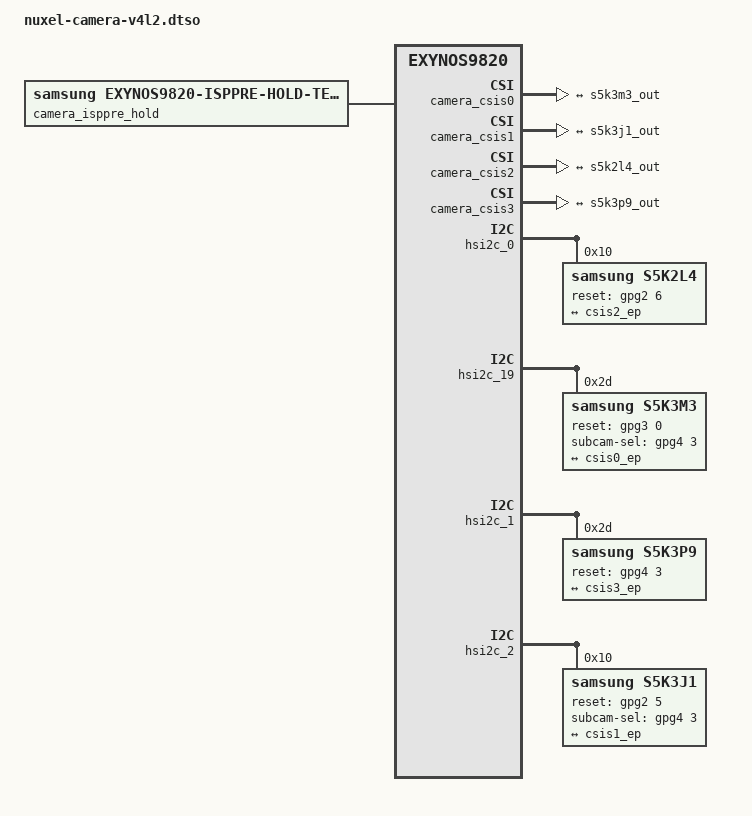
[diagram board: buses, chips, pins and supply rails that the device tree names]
// SPDX-License-Identifier: GPL-2.0-only
/*
 * Nuxel S10+ (beyond2lte / exynos9820) native camera device-tree overlay.
 * FIXED: standalone CSIS/isppre-hold/isppre-clock nodes are now wrapped in
 * fragment blocks targeting "/", so dtc/fdtoverlay actually merge them into
 * the base DTB (previously top-level nodes in /plugin/ were dropped).
 */
/dts-v1/;
/plugin/;

/ {
	compatible = "samsung,beyond2lte", "samsung,exynos9820";
	dtbo-hw_rev = <0x1a>;
	dtbo-hw_rev_end = <0xff>;

	fragment@100 {
		target-path = "/";
		__overlay__ {
			camera_isppre_hold: camera-isppre-hold {
				compatible = "samsung,exynos9820-isppre-hold-test";
				power-domains = <&pd_isppre>;
			};

			isppre_clock: clock-controller@17000000 {
				compatible = "samsung,exynos9820-isppre-clock-test";
				reg = <0x0 0x17000000 0x0 0x8000>;
				#clock-cells = <1>;
				clock-names = "bus";
				clocks = <&exynos_dm 0>;
				power-domains = <&pd_isppre>;
			};

			camera_csis0: camera-csis@17040000 {
				compatible = "samsung,exynos9820-csis";
				reg = <0x0 0x17040000 0x0 0x1000>,
				      <0x0 0x170e0000 0x0 0x100>,
				      <0x0 0x17020500 0x0 0x4>,
				      <0x0 0x19162300 0x0 0x500>,
				      <0x0 0x170b0000 0x0 0x500>;
				reg-names = "csis", "dma-top", "phy-reset", "phy", "dma";
				interrupts = <0 0x136 4>, <0 0x13c 4>;
				interrupt-names = "csis", "dma";
				samsung,pmu-syscon = <&pmu_system_controller>;
				samsung,pmu-phy-offset = <0x730>;
				samsung,phy-reset-bit = <0x2>;
				samsung,phy = <&mipi_phy_csis0_m4s4_top>;
				samsung,dc-combo;
				power-domains = <&pd_isppre>;
				clock-names = "csis", "dma", "mmu", "bus";
				clocks = <&isppre_clock 3>, <&isppre_clock 4>,
				         <&isppre_clock 5>, <&exynos_dm 0>;
				status = "okay";

				ports {
					#address-cells = <1>;
					#size-cells = <0>;
					port@0 {
						reg = <0>;
						csis0_ep: endpoint {
							remote-endpoint = <&s5k3m3_out>;
						};
					};
				};
			};

			camera_csis1: camera-csis@17050000 {
				compatible = "samsung,exynos9820-csis";
				reg = <0x0 0x17050000 0x0 0x1000>,
				      <0x0 0x170e0000 0x0 0x100>,
				      <0x0 0x17020500 0x0 0x4>,
				      <0x0 0x19162b00 0x0 0x500>,
				      <0x0 0x170c0000 0x0 0x500>;
				reg-names = "csis", "dma-top", "phy-reset", "phy", "dma";
				interrupts = <0 0x137 4>, <0 0x13d 4>;
				interrupt-names = "csis", "dma";
				samsung,pmu-syscon = <&pmu_system_controller>;
				samsung,pmu-phy-offset = <0x73c>;
				samsung,phy-reset-bit = <0x3>;
				samsung,phy = <&mipi_phy_csis1_m0s4s4s4_mod>;
				samsung,dc-combo;
				power-domains = <&pd_isppre>;
				clock-names = "csis", "dma", "mmu", "bus";
				clocks = <&isppre_clock 0>, <&isppre_clock 1>,
				         <&isppre_clock 5>, <&exynos_dm 0>;
				status = "okay";

				ports {
					#address-cells = <1>;
					#size-cells = <0>;
					port@0 {
						reg = <0>;
						csis1_ep: endpoint {
							remote-endpoint = <&s5k3j1_out>;
						};
					};
				};
			};

			camera_csis2: camera-csis@17030000 {
				compatible = "samsung,exynos9820-csis";
				reg = <0x0 0x17030000 0x0 0x1000>,
				      <0x0 0x170e0000 0x0 0x100>,
				      <0x0 0x17020500 0x0 0x4>,
				      <0x0 0x19162d00 0x0 0x500>,
				      <0x0 0x170a0000 0x0 0x500>;
				reg-names = "csis", "dma-top", "phy-reset", "phy", "dma";
				interrupts = <0 0x138 4>, <0 0x13e 4>;
				interrupt-names = "csis", "dma";
				samsung,pmu-syscon = <&pmu_system_controller>;
				samsung,pmu-phy-offset = <0x73c>;
				samsung,phy-reset-bit = <0x1>;
				samsung,phy = <&mipi_phy_csis2_m0s4s4s4_mod>;
				samsung,dc-combo;
				samsung,pdaf-vc1;
				power-domains = <&pd_isppre>;
				clock-names = "csis", "dma", "mmu", "bus";
				clocks = <&isppre_clock 5>, <&isppre_clock 1>,
				         <&isppre_clock 5>, <&exynos_dm 0>;
				status = "okay";

				ports {
					#address-cells = <1>;
					#size-cells = <0>;
					port@0 {
						reg = <0>;
						csis2_ep: endpoint {
							remote-endpoint = <&s5k2l4_out>;
						};
					};
				};
			};

			camera_csis3: camera-csis@17060000 {
				compatible = "samsung,exynos9820-csis";
				reg = <0x0 0x17060000 0x0 0x1000>,
				      <0x0 0x170e0000 0x0 0x100>,
				      <0x0 0x17020500 0x0 0x4>,
				      <0x0 0x19163300 0x0 0x300>,
				      <0x0 0x170d0000 0x0 0x500>;
				reg-names = "csis", "dma-top", "phy-reset", "phy", "dma";
				interrupts = <0 0x13f 4>, <0 0x140 4>;
				interrupt-names = "csis", "dma";
				samsung,pmu-syscon = <&pmu_system_controller>;
				samsung,pmu-phy-offset = <0x73c>;
				samsung,phy-reset-bit = <0x4>;
				samsung,phy = <&mipi_phy_csis3_m0s4s4s4_mod>;
				power-domains = <&pd_isppre>;
				clock-names = "csis", "dma", "mmu", "bus";
				clocks = <&isppre_clock 6>, <&isppre_clock 7>,
				         <&isppre_clock 5>, <&exynos_dm 0>;
				status = "okay";

				ports {
					#address-cells = <1>;
					#size-cells = <0>;
					port@0 {
						reg = <0>;
						csis3_ep: endpoint {
							remote-endpoint = <&s5k3p9_out>;
						};
					};
				};
			};
		};
	};
};

/* ========================= SENSOR CHILDREN =============================== */
&hsi2c_0 {  /* rear main 2L4 */
	s5k2l4: sensor@10 {
		compatible = "samsung,s5k2l4";
		reg = <0x10>;
		reset-gpios = <&gpg2 6 0>;
		pinctrl-names = "default", "camera-on";
		pinctrl-0 = <&sensor_mclk0_out>;
		pinctrl-1 = <&sensor_mclk0_fn>;
		clocks = <&isppre_clock 0>;
		clock-names = "mclk";
		orientation = <3>;
		status = "okay";

		port {
			s5k2l4_out: endpoint {
				remote-endpoint = <&csis2_ep>;
				data-lanes = <1 2 3 4>;
				link-frequencies = /bits/ 64 <923000000 676000000>;
			};
		};
	};
};

&hsi2c_19 {  /* rear tele 3M3 */
	s5k3m3: sensor@2D {
		compatible = "samsung,s5k3m3";
		reg = <0x2d>;
		reset-gpios = <&gpg3 0 0>;
		subcam-sel-gpios = <&gpg4 3 0>;
		pinctrl-names = "default", "camera-on";
		pinctrl-0 = <&sensor_mclk0_out>;
		pinctrl-1 = <&sensor_mclk0_fn>;
		clocks = <&isppre_clock 0>;
		clock-names = "mclk";
		status = "okay";

		port {
			s5k3m3_out: endpoint {
				remote-endpoint = <&csis0_ep>;
				data-lanes = <1 2 3 4>;
				link-frequencies = /bits/ 64 <598000000 481000000>;
			};
		};
	};
};

&hsi2c_1 {  /* rear ultrawide 3P9 */
	s5k3p9: sensor@2D {
		compatible = "samsung,s5k3p9";
		reg = <0x2d>;
		reset-gpios = <&gpg4 3 0>;
		pinctrl-names = "default", "camera-on";
		pinctrl-0 = <&sensor_mclk3_out>;
		pinctrl-1 = <&sensor_mclk3_fn>;
		clocks = <&isppre_clock 3>;
		clock-names = "mclk";
		status = "okay";

		port {
			s5k3p9_out: endpoint {
				remote-endpoint = <&csis3_ep>;
				data-lanes = <1 2 3 4>;
				link-frequencies = /bits/ 64 <676000000 596000000>;
			};
		};
	};
};

&hsi2c_2 {  /* front main 3J1 */
	s5k3j1: sensor@10 {
		compatible = "samsung,s5k3j1";
		reg = <0x10>;
		reset-gpios = <&gpg2 5 0>;
		subcam-sel-gpios = <&gpg4 3 0>;
		pinctrl-names = "default", "camera-on";
		pinctrl-0 = <&sensor_mclk1_out>;
		pinctrl-1 = <&sensor_mclk1_fn>;
		clocks = <&isppre_clock 1>;
		clock-names = "mclk";
		status = "okay";

		port {
			s5k3j1_out: endpoint {
				remote-endpoint = <&csis1_ep>;
				data-lanes = <1 2 3 4>;
				link-frequencies = /bits/ 64 <903500000 807720000>;
			};
		};
	};
};

/* ===================== DISABLE VENDOR FIMC-IS2 ============================
 * The new standard-V4L2 CSIS + S5K drivers take over the CSIS receivers and
 * the I2C sensor sub-devices. The vendor FIMC-IS2 driver (built-in,
 * CONFIG_VIDEO_EXYNOS_FIMC_IS2=y) must not bind the same physical CSIS
 * register blocks / sensors simultaneously. Disable its nodes.
 * ========================================================================= */
&fimc_is {
	status = "disabled";
};

&fimc_is_sensor0 {
	status = "disabled";
};

&fimc_is_sensor1 {
	status = "disabled";
};

&fimc_is_sensor2 {
	status = "disabled";
};

&fimc_is_sensor3 {
	status = "disabled";
};

&fimc_is_sensor4 {
	status = "disabled";
};

&fimc_is_sensor5 {
	status = "disabled";
};
